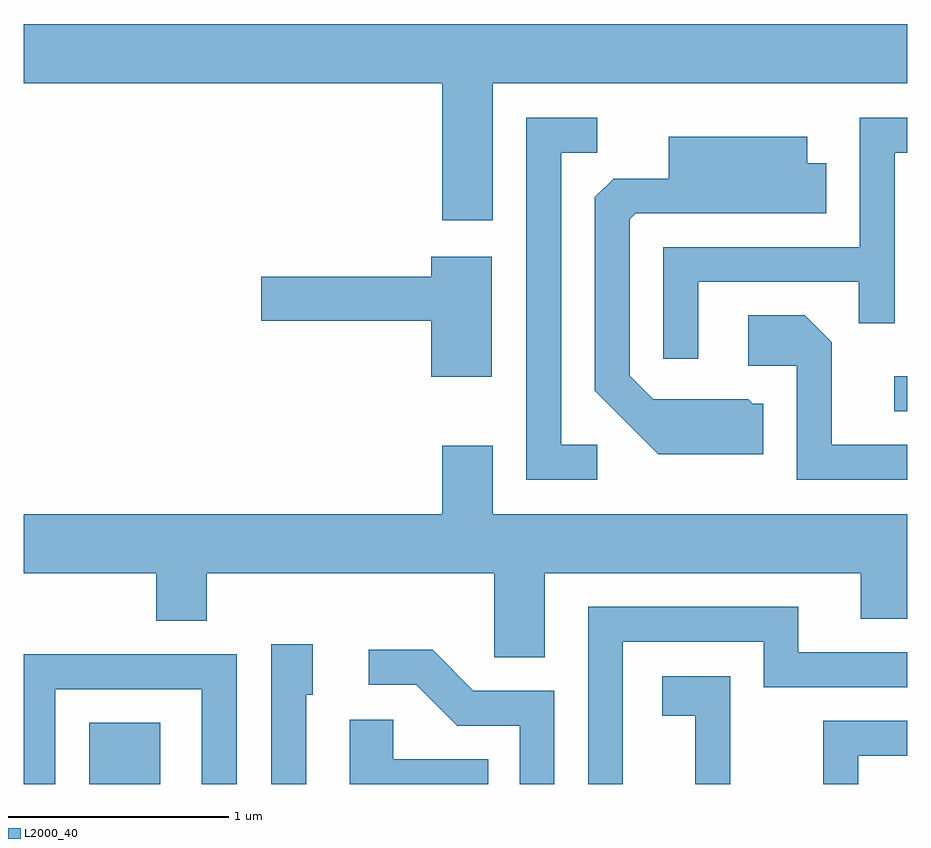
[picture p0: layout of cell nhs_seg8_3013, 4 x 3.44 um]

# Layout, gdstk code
import gdstk
lib = gdstk.Library(unit=1e-6, precision=1e-09)
def R(c, l, rs):  # rectangles x0, y0, x1, y1
    for r in rs: c.add(gdstk.rectangle(r[:2], r[2:], *l))
def P(c, l, *ps):  # polygons
    for p in ps: c.add(gdstk.Polygon(p, *l))
L2000_40 = (2000, 40)

nhs_seg8_3013 = lib.new_cell('nhs_seg8_3013')
R(nhs_seg8_3013, L2000_40, [(275.906,1844.342,276.229,1844.619), (279.553,1846.031,279.611,1846.189)])
P(nhs_seg8_3013, L2000_40, [(277.734,1847.516),(279.611,1847.516),(279.611,1847.784),(275.611,1847.784),(275.611,1847.516),(277.506,1847.516),(277.506,1846.896),(277.734,1846.896)],
  [(278.208,1845.879),(278.044,1845.879),(278.044,1847.201),(278.208,1847.201),(278.208,1847.359),(277.886,1847.359),(277.886,1845.721),(278.208,1845.721)],
  [(278.664,1846.616),(279.391,1846.616),(279.391,1846.428),(279.554,1846.428),(279.554,1847.201),(279.611,1847.201),(279.611,1847.359),(279.396,1847.359),(279.396,1846.774),(278.506,1846.774),(278.506,1846.268),(278.664,1846.268)],
  [(278.959,1846.064),(278.912,1846.064),(278.892,1846.084),(278.462,1846.084),(278.354,1846.192),(278.354,1846.899),(278.382,1846.926),(279.244,1846.926),(279.244,1847.154),(279.159,1847.154),(279.159,1847.274),(278.531,1847.274),(278.531,1847.084),(278.282,1847.084),(278.196,1846.999),(278.196,1846.124),(278.484,1845.836),(278.959,1845.836)],
  [(277.729,1846.729),(277.456,1846.729),(277.456,1846.639),(276.686,1846.639),(276.686,1846.441),(277.456,1846.441),(277.456,1846.186),(277.729,1846.186)],
  [(279.611,1845.879),(279.269,1845.879),(279.269,1846.342),(279.147,1846.464),(278.891,1846.464),(278.891,1846.236),(279.111,1846.236),(279.111,1845.721),(279.611,1845.721)],
  [(277.969,1845.296),(279.401,1845.296),(279.401,1845.091),(279.611,1845.091),(279.611,1845.564),(277.734,1845.564),(277.734,1845.874),(277.506,1845.874),(277.506,1845.564),(275.611,1845.564),(275.611,1845.296),(276.211,1845.296),(276.211,1845.081),(276.439,1845.081),(276.439,1845.296),(277.741,1845.296),(277.741,1844.916),(277.969,1844.916)],
  [(278.324,1844.986),(278.961,1844.986),(278.961,1844.781),(279.611,1844.781),(279.611,1844.939),(279.119,1844.939),(279.119,1845.144),(278.166,1845.144),(278.166,1844.342),(278.324,1844.342)],
  [(276.889,1844.746),(276.919,1844.746),(276.919,1844.974),(276.731,1844.974),(276.731,1844.342),(276.889,1844.342)],
  [(278.014,1844.764),(277.647,1844.764),(277.462,1844.949),(277.173,1844.949),(277.173,1844.791),(277.389,1844.791),(277.574,1844.606),(277.856,1844.606),(277.856,1844.342),(278.014,1844.342)],
  [(275.754,1844.771),(276.416,1844.771),(276.416,1844.342),(276.574,1844.342),(276.574,1844.929),(275.611,1844.929),(275.611,1844.342),(275.754,1844.342)],
  [(278.809,1844.829),(278.501,1844.829),(278.501,1844.651),(278.651,1844.651),(278.651,1844.342),(278.809,1844.342)],
  [(277.713,1844.454),(277.284,1844.454),(277.284,1844.634),(277.086,1844.634),(277.086,1844.342),(277.713,1844.342)],
  [(279.389,1844.471),(279.611,1844.471),(279.611,1844.629),(279.231,1844.629),(279.231,1844.342),(279.389,1844.342)])

lib.write_gds('nhs_seg8_3013.gds')
